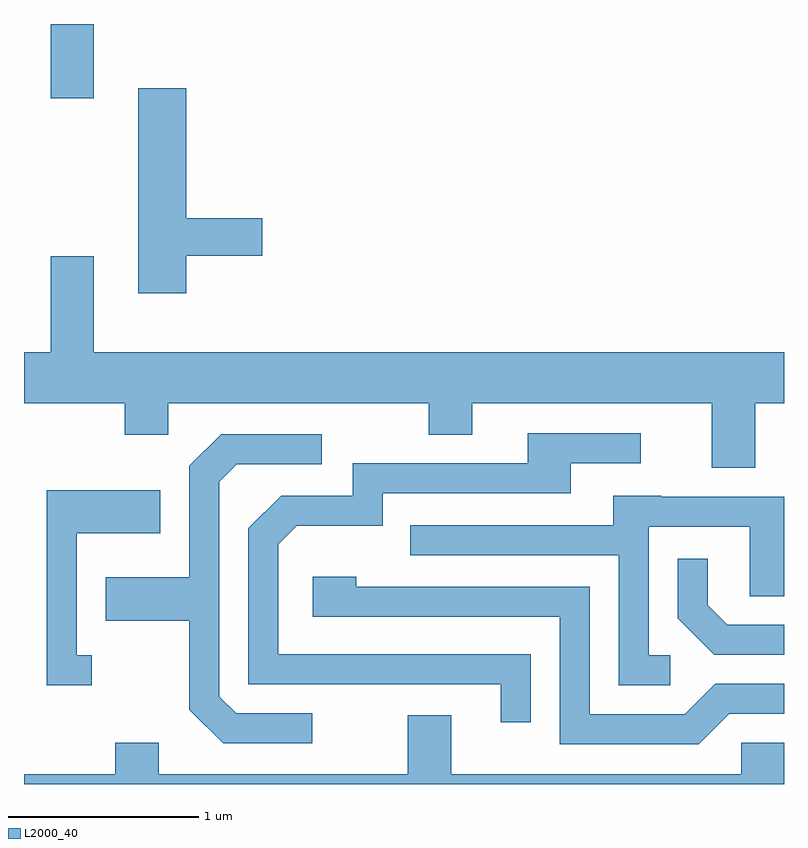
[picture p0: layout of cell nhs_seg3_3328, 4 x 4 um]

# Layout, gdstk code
import gdstk
lib = gdstk.Library(unit=1e-6, precision=1e-09)
def R(c, l, rs):  # rectangles x0, y0, x1, y1
    for r in rs: c.add(gdstk.rectangle(r[:2], r[2:], *l))
def P(c, l, *ps):  # polygons
    for p in ps: c.add(gdstk.Polygon(p, *l))
L2000_40 = (2000, 40)

nhs_seg3_3328 = lib.new_cell('nhs_seg3_3328')
R(nhs_seg3_3328, L2000_40, [(281.751,1247.501,281.979,1247.892)])
P(nhs_seg3_3328, L2000_40, [(282.464,1246.671),(282.864,1246.671),(282.864,1246.869),(282.464,1246.869),(282.464,1247.554),(282.211,1247.554),(282.211,1246.476),(282.464,1246.476)],
  [(285.459,1245.896),(285.611,1245.896),(285.611,1246.164),(281.979,1246.164),(281.979,1246.669),(281.751,1246.669),(281.751,1246.164),(281.611,1246.164),(281.611,1245.896),(282.141,1245.896),(282.141,1245.731),(282.369,1245.731),(282.369,1245.896),(283.741,1245.896),(283.741,1245.731),(283.969,1245.731),(283.969,1245.896),(285.231,1245.896),(285.231,1245.556),(285.459,1245.556)],
  [(284.279,1244.574),(282.949,1244.574),(282.949,1245.154),(283.047,1245.251),(283.499,1245.251),(283.499,1245.421),(284.489,1245.421),(284.489,1245.581),(284.858,1245.581),(284.858,1245.739),(284.261,1245.739),(284.261,1245.579),(283.341,1245.579),(283.341,1245.409),(282.964,1245.409),(282.791,1245.237),(282.791,1244.416),(284.121,1244.416),(284.121,1244.218),(284.279,1244.218)],
  [(283.128,1244.264),(282.727,1244.264),(282.639,1244.352),(282.639,1245.484),(282.732,1245.576),(283.178,1245.576),(283.178,1245.734),(282.649,1245.734),(282.481,1245.567),(282.481,1244.979),(282.041,1244.979),(282.041,1244.751),(282.481,1244.751),(282.481,1244.284),(282.659,1244.106),(283.128,1244.106)],
  [(281.968,1244.569),(281.889,1244.569),(281.889,1245.211),(282.329,1245.211),(282.329,1245.439),(281.731,1245.439),(281.731,1244.411),(281.968,1244.411)],
  [(285.013,1244.569),(284.899,1244.569),(284.899,1245.246),(285.431,1245.246),(285.431,1244.881),(285.611,1244.881),(285.611,1245.404),(284.965,1245.404),(284.965,1245.409),(284.711,1245.409),(284.711,1245.254),(283.643,1245.254),(283.643,1245.096),(284.741,1245.096),(284.741,1244.411),(285.013,1244.411)],
  [(285.611,1244.729),(285.312,1244.729),(285.209,1244.832),(285.209,1245.078),(285.051,1245.078),(285.051,1244.764),(285.244,1244.571),(285.611,1244.571)],
  [(285.322,1244.261),(285.611,1244.261),(285.611,1244.419),(285.249,1244.419),(285.089,1244.259),(284.589,1244.259),(284.589,1244.929),(283.359,1244.929),(283.359,1244.984),(283.131,1244.984),(283.131,1244.771),(284.431,1244.771),(284.431,1244.101),(285.162,1244.101)],
  [(285.611,1244.109),(285.386,1244.109),(285.386,1243.944),(283.859,1243.944),(283.859,1244.254),(283.631,1244.254),(283.631,1243.944),(282.319,1243.944),(282.319,1244.109),(282.091,1244.109),(282.091,1243.944),(281.611,1243.944),(281.611,1243.892),(285.611,1243.892)])

lib.write_gds('nhs_seg3_3328.gds')
